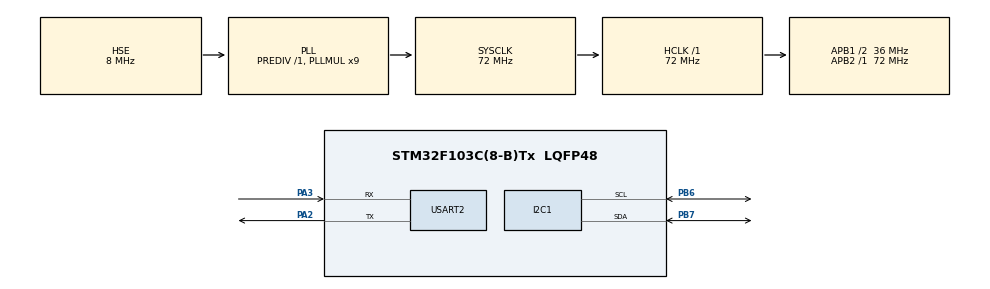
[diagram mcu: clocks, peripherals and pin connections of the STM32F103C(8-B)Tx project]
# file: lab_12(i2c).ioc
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Mcu.Family=STM32F1
Mcu.Name=STM32F103C(8-B)Tx
Mcu.Package=LQFP48
NVIC.PriorityGroup=NVIC_PRIORITYGROUP_4
PA13.Mode=Serial_Wire
PA13.Signal=SYS_JTMS-SWDIO
PA14.Mode=Serial_Wire
PA14.Signal=SYS_JTCK-SWCLK
PA2.Mode=Asynchronous
PA2.Signal=USART2_TX
PA3.Mode=Asynchronous
PA3.Signal=USART2_RX
PB6.Mode=I2C
PB6.Signal=I2C1_SCL
PB7.Mode=I2C
PB7.Signal=I2C1_SDA
PD0-OSC_IN.Mode=HSE-External-Oscillator
PD0-OSC_IN.Signal=RCC_OSC_IN
PD1-OSC_OUT.Mode=HSE-External-Oscillator
PD1-OSC_OUT.Signal=RCC_OSC_OUT
ProjectManager.HeapSize=0x200
ProjectManager.StackSize=0x400
ProjectManager.TargetToolchain=MDK-ARM V5.32
RCC.AHBFreq_Value=72000000
RCC.APB1CLKDivider=RCC_HCLK_DIV2
RCC.APB1Freq_Value=36000000
RCC.APB1TimFreq_Value=72000000
RCC.APB2Freq_Value=72000000
RCC.APB2TimFreq_Value=72000000
RCC.HCLKFreq_Value=72000000
RCC.PLLMUL=RCC_PLL_MUL9
RCC.PLLSourceVirtual=RCC_PLLSOURCE_HSE
RCC.SYSCLKFreq_VALUE=72000000
RCC.SYSCLKSource=RCC_SYSCLKSOURCE_PLLCLK
RCC.USBFreq_Value=72000000
USART2.VirtualMode=VM_ASYNC
board=custom

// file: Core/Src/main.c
/* USER CODE BEGIN Header */
/**
  ******************************************************************************
  * @file           : main.c
  * @brief          : Main program body
  ******************************************************************************
  * @attention
  *
  * Copyright (c) 2026 STMicroelectronics.
  * All rights reserved.
  *
  * This software is licensed under terms that can be found in the LICENSE file
  * in the root directory of this software component.
  * If no LICENSE file comes with this software, it is provided AS-IS.
  *
  ******************************************************************************
  */
/* USER CODE END Header */
#include "main.h"
#include <string.h>

/* USER CODE BEGIN Includes */
#include "bme280.h"
#include <stdio.h>
/* USER CODE END Includes */

I2C_HandleTypeDef hi2c1;

UART_HandleTypeDef huart2;

/* USER CODE BEGIN PV */
extern I2C_HandleTypeDef hi2c1; // Assumes I2C1 is configured via CubeMX
struct bme280_dev dev;
struct bme280_data comp_data;
int8_t rslt = BME280_OK;
struct bme280_settings settings;
// Variables to store final calculated values
float temperature, pressure, humidity;
/* USER CODE END PV */

void SystemClock_Config(void);
static void MX_GPIO_Init(void);
static void MX_I2C1_Init(void);
static void MX_USART2_UART_Init(void);

/* USER CODE BEGIN 4 */
int8_t user_i2c_read(uint8_t reg_addr, uint8_t *reg_data, uint32_t len, void *intf_ptr) {
 // Dev address shifted left by 1 is handled by HAL
 uint8_t dev_addr = *(uint8_t*)intf_ptr;
 if (HAL_I2C_Mem_Read(&hi2c1, (dev_addr << 1), reg_addr, I2C_MEMADD_SIZE_8BIT, reg_data, len,
HAL_MAX_DELAY) == HAL_OK) {
 return BME280_OK;
 }
 return BME280_E_COMM_FAIL;
}
int8_t user_i2c_write(uint8_t reg_addr, const uint8_t *reg_data, uint32_t len, void *intf_ptr) {
 uint8_t dev_addr = *(uint8_t*)intf_ptr;
 if (HAL_I2C_Mem_Write(&hi2c1, (dev_addr << 1), reg_addr, I2C_MEMADD_SIZE_8BIT,
(uint8_t*)reg_data, len, HAL_MAX_DELAY) == HAL_OK) {
 return BME280_OK;
 }
 return BME280_E_COMM_FAIL;
}
void user_delay_us(uint32_t period, void *intf_ptr) {
 // HAL provides millisecond delay; convert microseconds upward
 HAL_Delay((period / 1000) + 1);
}
/* USER CODE END 4 */

int main(void) {
 HAL_Init();
 SystemClock_Config();
 MX_GPIO_Init();
 MX_I2C1_Init();
 /* USER CODE BEGIN 2 */
    MX_USART2_UART_Init();

 static uint8_t dev_addr = BME280_I2C_ADDR_PRIM; // 0x76 (use BME280_I2C_ADDR_SEC if SDO is high)

 // Set up the API configuration function pointers
 dev.intf_ptr = &dev_addr;
 dev.intf = BME280_I2C_INTF;
 dev.read = user_i2c_read;
 dev.write = user_i2c_write;
 dev.delay_us = user_delay_us;
 // Initialize the BME280 sensor (This automatically extracts the compensation data)
 rslt = bme280_init(&dev);
 // Configure sensor settings
settings.osr_h = BME280_OVERSAMPLING_1X;
settings.osr_p = BME280_OVERSAMPLING_1X;
settings.osr_t = BME280_OVERSAMPLING_1X;
settings.filter = BME280_FILTER_COEFF_OFF;
 rslt = bme280_set_sensor_settings(
    BME280_SEL_OSR_PRESS | BME280_SEL_OSR_TEMP |
    BME280_SEL_OSR_HUM | BME280_SEL_FILTER,
    &settings,
    &dev
);

 // Set power mode to normal to enable continuous measurement cycles
rslt = bme280_set_sensor_mode(BME280_POWERMODE_NORMAL, &dev);

/* USER CODE END 2 */
 /* Infinite loop */
  while (1)
  {
    /* USER CODE BEGIN 3 */
    rslt = bme280_get_sensor_data(BME280_ALL,&comp_data,&dev);
    if(rslt == BME280_OK){
        temperature = comp_data.temperature;
        pressure = comp_data.pressure / 100.0f;
        humidity = comp_data.humidity;
    }
    if(rslt == BME280_OK){
        char msg[120];
        snprintf(msg,sizeof(msg),"Temperature: %.2f C Pressure: %.2f hPa Humidity: %.2f %%RH\r\n",temperature,pressure,humidity);
        HAL_UART_Transmit(&huart2,(uint8_t *)msg,strlen(msg),1000);
    }
    HAL_Delay(1000);
  }
  /* USER CODE END 3 */
}

void SystemClock_Config(void)
{
  RCC_OscInitTypeDef RCC_OscInitStruct = {0};
  RCC_ClkInitTypeDef RCC_ClkInitStruct = {0};

  /** Initializes the RCC Oscillators according to the specified parameters
  * in the RCC_OscInitTypeDef structure.
  */
  RCC_OscInitStruct.OscillatorType = RCC_OSCILLATORTYPE_HSE;
  RCC_OscInitStruct.HSEState = RCC_HSE_ON;
  RCC_OscInitStruct.HSEPredivValue = RCC_HSE_PREDIV_DIV1;
  RCC_OscInitStruct.HSIState = RCC_HSI_ON;
  RCC_OscInitStruct.PLL.PLLState = RCC_PLL_ON;
  RCC_OscInitStruct.PLL.PLLSource = RCC_PLLSOURCE_HSE;
  RCC_OscInitStruct.PLL.PLLMUL = RCC_PLL_MUL9;
  if (HAL_RCC_OscConfig(&RCC_OscInitStruct) != HAL_OK)
  {
    Error_Handler();
  }

  /** Initializes the CPU, AHB and APB buses clocks
  */
  RCC_ClkInitStruct.ClockType = RCC_CLOCKTYPE_HCLK|RCC_CLOCKTYPE_SYSCLK
                              |RCC_CLOCKTYPE_PCLK1|RCC_CLOCKTYPE_PCLK2;
  RCC_ClkInitStruct.SYSCLKSource = RCC_SYSCLKSOURCE_PLLCLK;
  RCC_ClkInitStruct.AHBCLKDivider = RCC_SYSCLK_DIV1;
  RCC_ClkInitStruct.APB1CLKDivider = RCC_HCLK_DIV2;
  RCC_ClkInitStruct.APB2CLKDivider = RCC_HCLK_DIV1;

  if (HAL_RCC_ClockConfig(&RCC_ClkInitStruct, FLASH_LATENCY_2) != HAL_OK)
  {
    Error_Handler();
  }
}

static void MX_I2C1_Init(void)
{

  hi2c1.Instance = I2C1;
  hi2c1.Init.ClockSpeed = 100000;
  hi2c1.Init.DutyCycle = I2C_DUTYCYCLE_2;
  hi2c1.Init.OwnAddress1 = 0;
  hi2c1.Init.AddressingMode = I2C_ADDRESSINGMODE_7BIT;
  hi2c1.Init.DualAddressMode = I2C_DUALADDRESS_DISABLE;
  hi2c1.Init.OwnAddress2 = 0;
  hi2c1.Init.GeneralCallMode = I2C_GENERALCALL_DISABLE;
  hi2c1.Init.NoStretchMode = I2C_NOSTRETCH_DISABLE;
  if (HAL_I2C_Init(&hi2c1) != HAL_OK)
  {
    Error_Handler();
  }

}

static void MX_USART2_UART_Init(void)
{

  huart2.Instance = USART2;
  huart2.Init.BaudRate = 115200;
  huart2.Init.WordLength = UART_WORDLENGTH_8B;
  huart2.Init.StopBits = UART_STOPBITS_1;
  huart2.Init.Parity = UART_PARITY_NONE;
  huart2.Init.Mode = UART_MODE_TX_RX;
  huart2.Init.HwFlowCtl = UART_HWCONTROL_NONE;
  huart2.Init.OverSampling = UART_OVERSAMPLING_16;
  if (HAL_UART_Init(&huart2) != HAL_OK)
  {
    Error_Handler();
  }

}

static void MX_GPIO_Init(void)
{

  /* GPIO Ports Clock Enable */
  __HAL_RCC_GPIOD_CLK_ENABLE();
  __HAL_RCC_GPIOA_CLK_ENABLE();
  __HAL_RCC_GPIOB_CLK_ENABLE();

}

void Error_Handler(void)
{
  __disable_irq();
  while (1)
  {
  }
}
